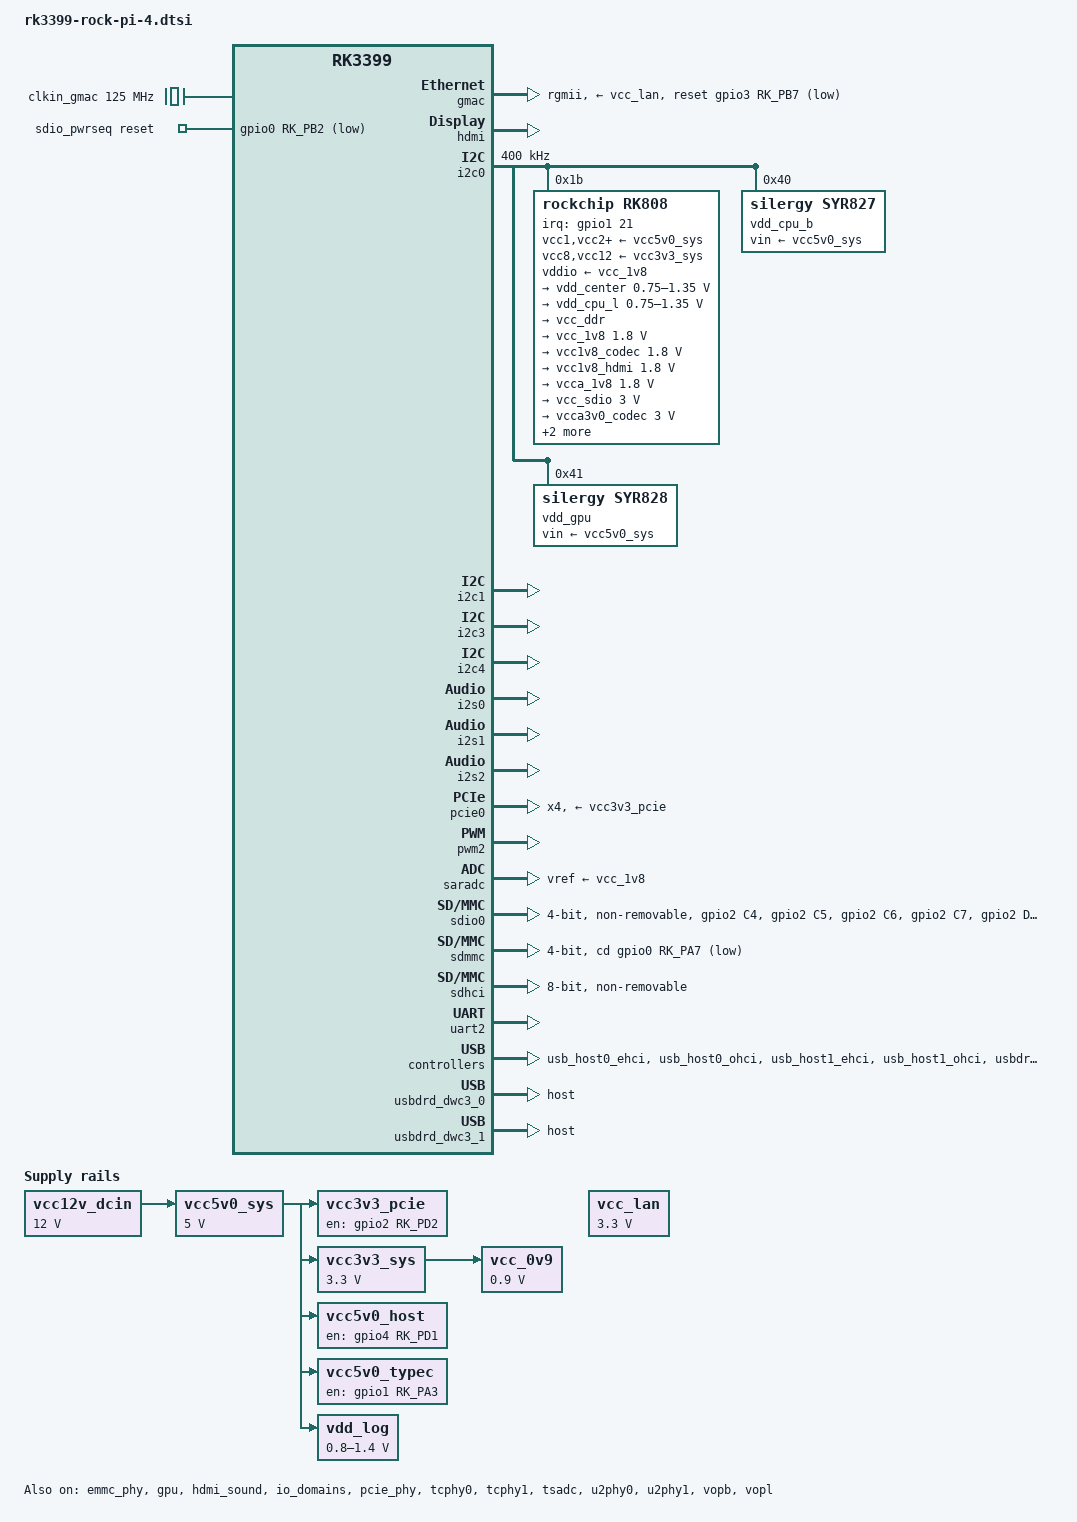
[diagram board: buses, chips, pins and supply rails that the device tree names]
// SPDX-License-Identifier: (GPL-2.0+ OR MIT)
/*
 * Copyright (c) 2019 Akash Gajjar <Akash_Gajjar@mentor.com>
 * Copyright (c) 2019 Pragnesh Patel <Pragnesh_Patel@mentor.com>
 */

/dts-v1/;
#include <dt-bindings/input/linux-event-codes.h>
#include <dt-bindings/pwm/pwm.h>
#include "rk3399.dtsi"
#include "rk3399-opp.dtsi"

/ {
	aliases {
		mmc0 = &sdmmc;
		mmc1 = &sdhci;
	};

	chosen {
		stdout-path = "serial2:1500000n8";
	};

	clkin_gmac: external-gmac-clock {
		compatible = "fixed-clock";
		clock-frequency = <125000000>;
		clock-output-names = "clkin_gmac";
		#clock-cells = <0>;
	};

	sdio_pwrseq: sdio-pwrseq {
		compatible = "mmc-pwrseq-simple";
		clocks = <&rk808 1>;
		clock-names = "ext_clock";
		pinctrl-names = "default";
		pinctrl-0 = <&wifi_enable_h>;
		reset-gpios = <&gpio0 RK_PB2 GPIO_ACTIVE_LOW>;
	};

	vcc12v_dcin: dc-12v {
		compatible = "regulator-fixed";
		regulator-name = "vcc12v_dcin";
		regulator-always-on;
		regulator-boot-on;
		regulator-min-microvolt = <12000000>;
		regulator-max-microvolt = <12000000>;
	};

	vcc5v0_sys: vcc-sys {
		compatible = "regulator-fixed";
		regulator-name = "vcc5v0_sys";
		regulator-always-on;
		regulator-boot-on;
		regulator-min-microvolt = <5000000>;
		regulator-max-microvolt = <5000000>;
		vin-supply = <&vcc12v_dcin>;
	};

	vcc_0v9: vcc-0v9 {
		compatible = "regulator-fixed";
		regulator-name = "vcc_0v9";
		regulator-always-on;
		regulator-boot-on;
		regulator-min-microvolt = <900000>;
		regulator-max-microvolt = <900000>;
		vin-supply = <&vcc3v3_sys>;
	};

	vcc3v3_pcie: vcc3v3-pcie-regulator {
		compatible = "regulator-fixed";
		enable-active-high;
		gpio = <&gpio2 RK_PD2 GPIO_ACTIVE_HIGH>;
		pinctrl-names = "default";
		pinctrl-0 = <&pcie_pwr_en>;
		regulator-name = "vcc3v3_pcie";
		regulator-always-on;
		regulator-boot-on;
		vin-supply = <&vcc5v0_sys>;
	};

	vcc3v3_sys: vcc3v3-sys {
		compatible = "regulator-fixed";
		regulator-name = "vcc3v3_sys";
		regulator-always-on;
		regulator-boot-on;
		regulator-min-microvolt = <3300000>;
		regulator-max-microvolt = <3300000>;
		vin-supply = <&vcc5v0_sys>;
	};

	vcc5v0_host: vcc5v0-host-regulator {
		compatible = "regulator-fixed";
		enable-active-high;
		gpio = <&gpio4 RK_PD1 GPIO_ACTIVE_HIGH>;
		pinctrl-names = "default";
		pinctrl-0 = <&vcc5v0_host_en>;
		regulator-name = "vcc5v0_host";
		regulator-always-on;
		vin-supply = <&vcc5v0_sys>;
	};

	vcc5v0_typec: vcc5v0-typec-regulator {
		compatible = "regulator-fixed";
		enable-active-high;
		gpio = <&gpio1 RK_PA3 GPIO_ACTIVE_HIGH>;
		pinctrl-names = "default";
		pinctrl-0 = <&vcc5v0_typec_en>;
		regulator-name = "vcc5v0_typec";
		regulator-always-on;
		vin-supply = <&vcc5v0_sys>;
	};

	vcc_lan: vcc3v3-phy-regulator {
		compatible = "regulator-fixed";
		regulator-name = "vcc_lan";
		regulator-always-on;
		regulator-boot-on;
		regulator-min-microvolt = <3300000>;
		regulator-max-microvolt = <3300000>;
	};

	vdd_log: vdd-log {
		compatible = "pwm-regulator";
		pwms = <&pwm2 0 25000 1>;
		regulator-name = "vdd_log";
		regulator-always-on;
		regulator-boot-on;
		regulator-min-microvolt = <800000>;
		regulator-max-microvolt = <1400000>;
		vin-supply = <&vcc5v0_sys>;
	};
};

&cpu_l0 {
	cpu-supply = <&vdd_cpu_l>;
};

&cpu_l1 {
	cpu-supply = <&vdd_cpu_l>;
};

&cpu_l2 {
	cpu-supply = <&vdd_cpu_l>;
};

&cpu_l3 {
	cpu-supply = <&vdd_cpu_l>;
};

&cpu_b0 {
	cpu-supply = <&vdd_cpu_b>;
};

&cpu_b1 {
	cpu-supply = <&vdd_cpu_b>;
};

&emmc_phy {
	status = "okay";
};

&gmac {
	assigned-clocks = <&cru SCLK_RMII_SRC>;
	assigned-clock-parents = <&clkin_gmac>;
	clock_in_out = "input";
	phy-supply = <&vcc_lan>;
	phy-mode = "rgmii";
	pinctrl-names = "default";
	pinctrl-0 = <&rgmii_pins>;
	snps,reset-gpio = <&gpio3 RK_PB7 GPIO_ACTIVE_LOW>;
	snps,reset-active-low;
	snps,reset-delays-us = <0 10000 50000>;
	tx_delay = <0x28>;
	rx_delay = <0x11>;
	status = "okay";
};

&gpu {
	mali-supply = <&vdd_gpu>;
	status = "okay";
};

&hdmi {
	ddc-i2c-bus = <&i2c3>;
	pinctrl-names = "default";
	pinctrl-0 = <&hdmi_cec>;
	status = "okay";
};

&hdmi_sound {
	status = "okay";
};

&i2c0 {
	clock-frequency = <400000>;
	i2c-scl-rising-time-ns = <168>;
	i2c-scl-falling-time-ns = <4>;
	status = "okay";

	rk808: pmic@1b {
		compatible = "rockchip,rk808";
		reg = <0x1b>;
		interrupt-parent = <&gpio1>;
		interrupts = <21 IRQ_TYPE_LEVEL_LOW>;
		#clock-cells = <1>;
		clock-output-names = "xin32k", "rk808-clkout2";
		pinctrl-names = "default";
		pinctrl-0 = <&pmic_int_l>;
		rockchip,system-power-controller;
		wakeup-source;

		vcc1-supply = <&vcc5v0_sys>;
		vcc2-supply = <&vcc5v0_sys>;
		vcc3-supply = <&vcc5v0_sys>;
		vcc4-supply = <&vcc5v0_sys>;
		vcc6-supply = <&vcc5v0_sys>;
		vcc7-supply = <&vcc5v0_sys>;
		vcc8-supply = <&vcc3v3_sys>;
		vcc9-supply = <&vcc5v0_sys>;
		vcc10-supply = <&vcc5v0_sys>;
		vcc11-supply = <&vcc5v0_sys>;
		vcc12-supply = <&vcc3v3_sys>;
		vddio-supply = <&vcc_1v8>;

		regulators {
			vdd_center: DCDC_REG1 {
				regulator-name = "vdd_center";
				regulator-always-on;
				regulator-boot-on;
				regulator-min-microvolt = <750000>;
				regulator-max-microvolt = <1350000>;
				regulator-ramp-delay = <6001>;
				regulator-state-mem {
					regulator-off-in-suspend;
				};
			};

			vdd_cpu_l: DCDC_REG2 {
				regulator-name = "vdd_cpu_l";
				regulator-always-on;
				regulator-boot-on;
				regulator-min-microvolt = <750000>;
				regulator-max-microvolt = <1350000>;
				regulator-ramp-delay = <6001>;
				regulator-state-mem {
					regulator-off-in-suspend;
				};
			};

			vcc_ddr: DCDC_REG3 {
				regulator-name = "vcc_ddr";
				regulator-always-on;
				regulator-boot-on;
				regulator-state-mem {
					regulator-on-in-suspend;
				};
			};

			vcc_1v8: DCDC_REG4 {
				regulator-name = "vcc_1v8";
				regulator-always-on;
				regulator-boot-on;
				regulator-min-microvolt = <1800000>;
				regulator-max-microvolt = <1800000>;
				regulator-state-mem {
					regulator-on-in-suspend;
					regulator-suspend-microvolt = <1800000>;
				};
			};

			vcc1v8_codec: LDO_REG1 {
				regulator-name = "vcc1v8_codec";
				regulator-always-on;
				regulator-boot-on;
				regulator-min-microvolt = <1800000>;
				regulator-max-microvolt = <1800000>;
				regulator-state-mem {
					regulator-off-in-suspend;
				};
			};

			vcc1v8_hdmi: LDO_REG2 {
				regulator-name = "vcc1v8_hdmi";
				regulator-always-on;
				regulator-boot-on;
				regulator-min-microvolt = <1800000>;
				regulator-max-microvolt = <1800000>;
				regulator-state-mem {
					regulator-off-in-suspend;
				};
			};

			vcca_1v8: LDO_REG3 {
				regulator-name = "vcca_1v8";
				regulator-always-on;
				regulator-boot-on;
				regulator-min-microvolt = <1800000>;
				regulator-max-microvolt = <1800000>;
				regulator-state-mem {
					regulator-on-in-suspend;
					regulator-suspend-microvolt = <1800000>;
				};
			};

			vcc_sdio: LDO_REG4 {
				regulator-name = "vcc_sdio";
				regulator-always-on;
				regulator-boot-on;
				regulator-min-microvolt = <3000000>;
				regulator-max-microvolt = <3000000>;
				regulator-state-mem {
					regulator-on-in-suspend;
					regulator-suspend-microvolt = <3000000>;
				};
			};

			vcca3v0_codec: LDO_REG5 {
				regulator-name = "vcca3v0_codec";
				regulator-always-on;
				regulator-boot-on;
				regulator-min-microvolt = <3000000>;
				regulator-max-microvolt = <3000000>;
				regulator-state-mem {
					regulator-off-in-suspend;
				};
			};

			vcc_1v5: LDO_REG6 {
				regulator-name = "vcc_1v5";
				regulator-always-on;
				regulator-boot-on;
				regulator-min-microvolt = <1500000>;
				regulator-max-microvolt = <1500000>;
				regulator-state-mem {
					regulator-on-in-suspend;
					regulator-suspend-microvolt = <1500000>;
				};
			};

			vcc0v9_hdmi: LDO_REG7 {
				regulator-name = "vcc0v9_hdmi";
				regulator-always-on;
				regulator-boot-on;
				regulator-min-microvolt = <900000>;
				regulator-max-microvolt = <900000>;
				regulator-state-mem {
					regulator-off-in-suspend;
				};
			};

			vcc_3v0: LDO_REG8 {
				regulator-name = "vcc_3v0";
				regulator-always-on;
				regulator-boot-on;
				regulator-min-microvolt = <3000000>;
				regulator-max-microvolt = <3000000>;
				regulator-state-mem {
					regulator-on-in-suspend;
					regulator-suspend-microvolt = <3000000>;
				};
			};

			vcc_cam: SWITCH_REG1 {
				regulator-name = "vcc_cam";
				regulator-always-on;
				regulator-boot-on;
				regulator-state-mem {
					regulator-off-in-suspend;
				};
			};

			vcc_mipi: SWITCH_REG2 {
				regulator-name = "vcc_mipi";
				regulator-always-on;
				regulator-boot-on;
				regulator-state-mem {
					regulator-off-in-suspend;
				};
			};
		};
	};

	vdd_cpu_b: regulator@40 {
		compatible = "silergy,syr827";
		reg = <0x40>;
		fcs,suspend-voltage-selector = <1>;
		pinctrl-names = "default";
		pinctrl-0 = <&vsel1_pin>;
		regulator-name = "vdd_cpu_b";
		regulator-min-microvolt = <712500>;
		regulator-max-microvolt = <1500000>;
		regulator-ramp-delay = <1000>;
		regulator-always-on;
		regulator-boot-on;
		vin-supply = <&vcc5v0_sys>;

		regulator-state-mem {
			regulator-off-in-suspend;
		};
	};

	vdd_gpu: regulator@41 {
		compatible = "silergy,syr828";
		reg = <0x41>;
		fcs,suspend-voltage-selector = <1>;
		pinctrl-names = "default";
		pinctrl-0 = <&vsel2_pin>;
		regulator-name = "vdd_gpu";
		regulator-min-microvolt = <712500>;
		regulator-max-microvolt = <1500000>;
		regulator-ramp-delay = <1000>;
		regulator-always-on;
		regulator-boot-on;
		vin-supply = <&vcc5v0_sys>;

		regulator-state-mem {
			regulator-off-in-suspend;
		};
	};
};

&i2c1 {
	i2c-scl-rising-time-ns = <300>;
	i2c-scl-falling-time-ns = <15>;
	status = "okay";
};

&i2c3 {
	i2c-scl-rising-time-ns = <450>;
	i2c-scl-falling-time-ns = <15>;
	status = "okay";
};

&i2c4 {
	i2c-scl-rising-time-ns = <600>;
	i2c-scl-falling-time-ns = <20>;
	status = "okay";
};

&i2s0 {
	pinctrl-0 = <&i2s0_2ch_bus>;
	rockchip,capture-channels = <2>;
	rockchip,playback-channels = <2>;
	status = "okay";
};

&i2s1 {
	rockchip,playback-channels = <2>;
	rockchip,capture-channels = <2>;
	status = "okay";
};

&i2s2 {
	status = "okay";
};

&io_domains {
	status = "okay";

	bt656-supply = <&vcc_3v0>;
	audio-supply = <&vcc1v8_codec>;
	sdmmc-supply = <&vcc_sdio>;
	gpio1830-supply = <&vcc_3v0>;
};

&pmu_io_domains {
	status = "okay";

	pmu1830-supply = <&vcc_3v0>;
};

&pcie_phy {
	status = "okay";
};

&pcie0 {
	ep-gpios = <&gpio4 RK_PD3 GPIO_ACTIVE_HIGH>;
	num-lanes = <4>;
	pinctrl-0 = <&pcie_clkreqnb_cpm>;
	pinctrl-names = "default";
	vpcie0v9-supply = <&vcc_0v9>;
	vpcie1v8-supply = <&vcc_1v8>;
	vpcie3v3-supply = <&vcc3v3_pcie>;
	status = "okay";
};

&pinctrl {
	bt {
		bt_enable_h: bt-enable-h {
			rockchip,pins = <0 RK_PB1 RK_FUNC_GPIO &pcfg_pull_none>;
		};

		bt_host_wake_l: bt-host-wake-l {
			rockchip,pins = <0 RK_PA4 RK_FUNC_GPIO &pcfg_pull_none>;
		};

		bt_wake_l: bt-wake-l {
			rockchip,pins = <2 RK_PD3 RK_FUNC_GPIO &pcfg_pull_none>;
		};
	};

	pcie {
		pcie_pwr_en: pcie-pwr-en {
			rockchip,pins = <2 RK_PD2 RK_FUNC_GPIO &pcfg_pull_none>;
		};
	};

	sdio0 {
		sdio0_bus4: sdio0-bus4 {
			rockchip,pins = <2 RK_PC4 1 &pcfg_pull_up_20ma>,
					<2 RK_PC5 1 &pcfg_pull_up_20ma>,
					<2 RK_PC6 1 &pcfg_pull_up_20ma>,
					<2 RK_PC7 1 &pcfg_pull_up_20ma>;
		};

		sdio0_cmd: sdio0-cmd {
			rockchip,pins = <2 RK_PD0 1 &pcfg_pull_up_20ma>;
		};

		sdio0_clk: sdio0-clk {
			rockchip,pins = <2 RK_PD1 1 &pcfg_pull_none_20ma>;
		};
	};

	pmic {
		pmic_int_l: pmic-int-l {
			rockchip,pins = <1 RK_PC5 RK_FUNC_GPIO &pcfg_pull_up>;
		};

		vsel1_pin: vsel1-pin {
			rockchip,pins = <1 RK_PC1 RK_FUNC_GPIO &pcfg_pull_down>;
		};

		vsel2_pin: vsel2-pin {
			rockchip,pins = <1 RK_PB6 RK_FUNC_GPIO &pcfg_pull_down>;
		};
	};

	usb-typec {
		vcc5v0_typec_en: vcc5v0-typec-en {
			rockchip,pins = <1 RK_PA3 RK_FUNC_GPIO &pcfg_pull_up>;
		};
	};

	usb2 {
		vcc5v0_host_en: vcc5v0-host-en {
			rockchip,pins = <4 RK_PD1 RK_FUNC_GPIO &pcfg_pull_none>;
		};
	};

	wifi {
		wifi_enable_h: wifi-enable-h {
			rockchip,pins = <0 RK_PB2 RK_FUNC_GPIO &pcfg_pull_none>;
		};

		wifi_host_wake_l: wifi-host-wake-l {
			rockchip,pins = <0 RK_PA3 RK_FUNC_GPIO &pcfg_pull_none>;
		};
	};
};

&pwm2 {
	status = "okay";
};

&saradc {
	status = "okay";

	vref-supply = <&vcc_1v8>;
};

&sdio0 {
	#address-cells = <1>;
	#size-cells = <0>;
	bus-width = <4>;
	clock-frequency = <50000000>;
	cap-sdio-irq;
	cap-sd-highspeed;
	keep-power-in-suspend;
	mmc-pwrseq = <&sdio_pwrseq>;
	non-removable;
	pinctrl-names = "default";
	pinctrl-0 = <&sdio0_bus4 &sdio0_cmd &sdio0_clk>;
	sd-uhs-sdr104;
};

&sdmmc {
	bus-width = <4>;
	cap-mmc-highspeed;
	cap-sd-highspeed;
	cd-gpios = <&gpio0 RK_PA7 GPIO_ACTIVE_LOW>;
	disable-wp;
	max-frequency = <150000000>;
	pinctrl-names = "default";
	pinctrl-0 = <&sdmmc_clk &sdmmc_cd &sdmmc_cmd &sdmmc_bus4>;
	status = "okay";
};

&sdhci {
	bus-width = <8>;
	mmc-hs400-1_8v;
	mmc-hs400-enhanced-strobe;
	non-removable;
	status = "okay";
};

&tcphy0 {
	status = "okay";
};

&tcphy1 {
	status = "okay";
};

&tsadc {
	status = "okay";

	/* tshut mode 0:CRU 1:GPIO */
	rockchip,hw-tshut-mode = <1>;
	/* tshut polarity 0:LOW 1:HIGH */
	rockchip,hw-tshut-polarity = <1>;
};

&u2phy0 {
	status = "okay";

	u2phy0_otg: otg-port {
		status = "okay";
	};

	u2phy0_host: host-port {
		phy-supply = <&vcc5v0_host>;
		status = "okay";
	};
};

&u2phy1 {
	status = "okay";

	u2phy1_otg: otg-port {
		status = "okay";
	};

	u2phy1_host: host-port {
		phy-supply = <&vcc5v0_host>;
		status = "okay";
	};
};

&uart0 {
	pinctrl-names = "default";
	pinctrl-0 = <&uart0_xfer &uart0_cts &uart0_rts>;
};

&uart2 {
	status = "okay";
};

&usb_host0_ehci {
	status = "okay";
};

&usb_host0_ohci {
	status = "okay";
};

&usb_host1_ehci {
	status = "okay";
};

&usb_host1_ohci {
	status = "okay";
};

&usbdrd3_0 {
	status = "okay";
};

&usbdrd_dwc3_0 {
	status = "okay";
	dr_mode = "host";
};

&usbdrd3_1 {
	status = "okay";
};

&usbdrd_dwc3_1 {
	status = "okay";
	dr_mode = "host";
};

&vopb {
	status = "okay";
};

&vopb_mmu {
	status = "okay";
};

&vopl {
	status = "okay";
};

&vopl_mmu {
	status = "okay";
};
